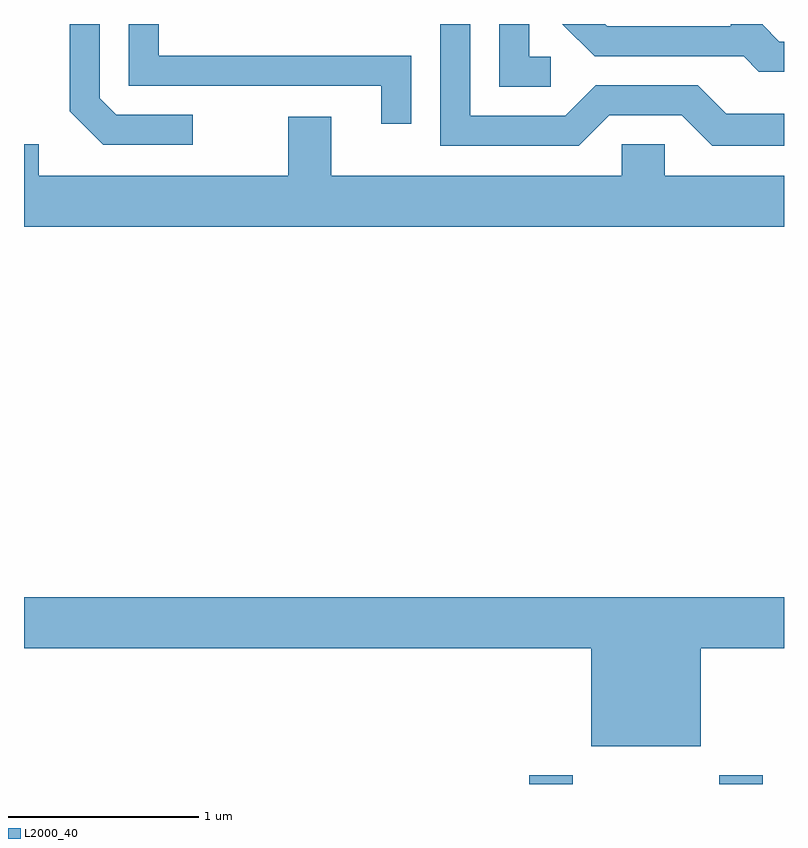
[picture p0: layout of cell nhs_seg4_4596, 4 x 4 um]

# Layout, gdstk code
import gdstk
lib = gdstk.Library(unit=1e-6, precision=1e-09)
def R(c, l, rs):  # rectangles x0, y0, x1, y1
    for r in rs: c.add(gdstk.rectangle(r[:2], r[2:], *l))
def P(c, l, *ps):  # polygons
    for p in ps: c.add(gdstk.Polygon(p, *l))
L2000_40 = (2000, 40)

nhs_seg4_4596 = lib.new_cell('nhs_seg4_4596')
R(nhs_seg4_4596, L2000_40, [(322.271,1333.982,322.499,1334.029), (323.271,1333.982,323.499,1334.029)])
P(nhs_seg4_4596, L2000_40, [(321.649,1337.814),(320.319,1337.814),(320.319,1337.982),(320.161,1337.982),(320.161,1337.656),(321.491,1337.656),(321.491,1337.458),(321.649,1337.458)],
  [(322.692,1337.501),(323.074,1337.501),(323.234,1337.341),(323.611,1337.341),(323.611,1337.509),(323.307,1337.509),(323.157,1337.659),(322.619,1337.659),(322.459,1337.499),(321.959,1337.499),(321.959,1337.982),(321.801,1337.982),(321.801,1337.341),(322.532,1337.341)],
  [(323.611,1337.889),(323.587,1337.889),(323.499,1337.977),(323.499,1337.982),(323.331,1337.982),(323.331,1337.969),(322.682,1337.969),(322.669,1337.982),(322.443,1337.982),(322.614,1337.811),(323.399,1337.811),(323.479,1337.731),(323.611,1337.731)],
  [(322.383,1337.809),(322.269,1337.809),(322.269,1337.982),(322.111,1337.982),(322.111,1337.651),(322.383,1337.651)],
  [(320.498,1337.504),(320.097,1337.504),(320.009,1337.592),(320.009,1337.982),(319.851,1337.982),(319.851,1337.524),(320.029,1337.346),(320.498,1337.346)],
  [(323.611,1337.184),(322.984,1337.184),(322.984,1337.349),(322.756,1337.349),(322.756,1337.184),(321.229,1337.184),(321.229,1337.494),(321.001,1337.494),(321.001,1337.184),(319.689,1337.184),(319.689,1337.349),(319.611,1337.349),(319.611,1336.916),(323.611,1336.916)],
  [(323.174,1334.696),(323.611,1334.696),(323.611,1334.964),(319.611,1334.964),(319.611,1334.696),(322.596,1334.696),(322.596,1334.181),(323.174,1334.181)])

lib.write_gds('nhs_seg4_4596.gds')
